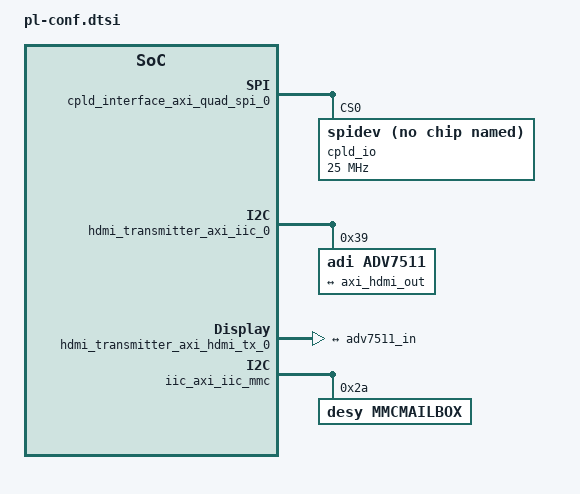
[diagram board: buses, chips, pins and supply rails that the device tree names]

&cpld_interface_axi_quad_spi_0 {
    cpld_io: spidev@0 {
        compatible = "spidev";
        reg = <0x0>;
        spi-max-frequency = <25000000>;
    };
};

&hdmi_transmitter_axi_iic_0 {
    adv7511: adv7511@39 {
        compatible = "adi,adv7511";
        reg = <0x39>, <0x66>;
        reg-names = "main", "edid";

        adi,input-depth = <8>;
        adi,input-colorspace = "yuv422";
        adi,input-clock = "1x";
        adi,input-style = <1>;
        adi,input-justification = "right";

        ports {
            #address-cells = <1>;
            #size-cells = <0>;

            port@0 {
                reg = <0>;
                adv7511_in: endpoint {
                    remote-endpoint = <&axi_hdmi_out>;
                };
            };
        };
    };
};

&hdmi_transmitter_axi_hdmi_dma {
    compatible = "adi,axi-dmac-1.00.a";
	#dma-cells = <1>;

	adi,channels {
		#size-cells = <0>;
		#address-cells = <1>;

		dma-channel@0 {
			reg = <0>;
			adi,source-bus-width = <64>;
			adi,source-bus-type = <0>;
			adi,destination-bus-width = <64>;
			adi,destination-bus-type = <1>;
		};
	};
};

&hdmi_transmitter_axi_clkgen_0 {
    compatible = "adi,axi-clkgen-2.00.a";
    #clock-cells = <0>;
    clock-names = "clkin1", "s_axi_aclk";
};

&hdmi_transmitter_axi_hdmi_tx_0 {
    compatible = "adi,axi-hdmi-tx-1.00.a";
    dmas = <&hdmi_transmitter_axi_hdmi_dma 0>;
    dma-names = "video";
    clocks = <&hdmi_transmitter_axi_clkgen_0>;

    port {
        axi_hdmi_out: endpoint {
            remote-endpoint = <&adv7511_in>;
        };
    };
};

&iic_axi_iic_mmc {
  mmcmailbox@2a {
      compatible = "desy,mmcmailbox";
      reg = <0x2a>;
  };
};
